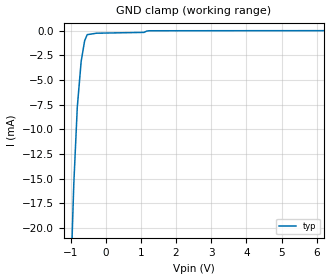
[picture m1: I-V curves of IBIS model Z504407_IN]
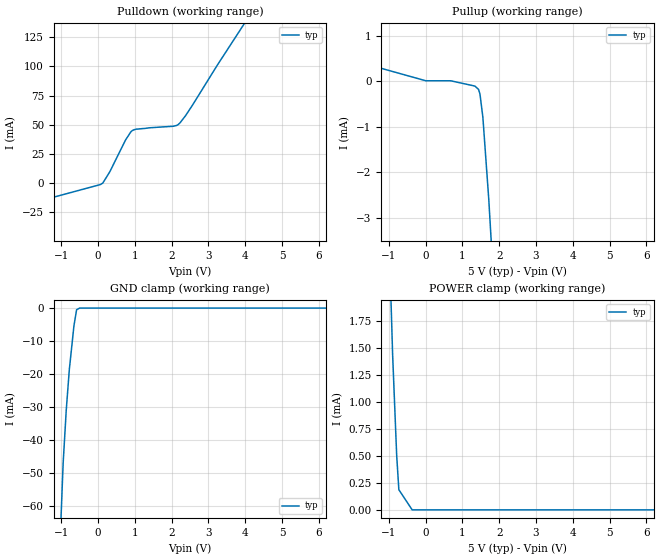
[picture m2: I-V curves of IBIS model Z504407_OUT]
| YOU ARE ONLY AUTHORIZED TO USE THIS SOFTWARE
| ACCORDING TO LICENSOR'S LICENSE RESTRICTIONS.
[IBIS Ver] 3.1
[File Name] sn54ls193j.ibs
[File Rev] 2.0
[Source] Measured and created by ICX Technology
[Date] Friday 7/14/00 9:08:14 AM
[Copyright]
| (C) COPYRIGHT 1993-2000
| MENTOR GRAPHICS CORPORATION
| ICX STANDARD LIBRARY, ICX PROJECT MODELING,
| ICX CUSTOM MODELING, ICX VENDOR MODEL
| ALL RIGHTS RESERVED.
| THE FOLLOWING ARE TRADEMARKS OR SERVICE MARKS OF
| MENTOR GRAPHICS CORPORATION:ICX (R), ICX STANDARD
| LIBRARY(R), ICX PROJECT MODELING(R), ICX CUSTOM
| MODELING(R), qualityIBIS(TM), MODELVIEWER(TM),
| AND MODELEDITOR(TM)
| ALL COPIES OF SOFTWARE, INCLUDING BUT NOT LIMITED TO
| ANY MODIFICATIONS, ENHANCEMENTS OR DERIVATIVE WORKS,
| MUST CONTAIN ALL MENTOR GRAPHICS CORPORATION'S
| NOTICES AND LEGENDS, INCLUDING THOSE EMBEDDED IN
| SOFTWARE AND THOSE AFFIXED TO SOFTWARE MEDIUM
| AND CONTAINER, AS RECEIVED FROM MENTOR GRAPHICS
| CORPORATION.
|  ZAP Model Builder 2.7
[Component] SN54LS193J
[Manufacturer] OnSemiconductor
[Package]
| variable   typ   min   max
R_pkg  .212ohms NA NA
L_pkg  4.758nH NA NA
C_pkg  1.944pF NA NA
[Pin] signal_name  model_name  R_pin  L_pin C_pin
1 B Z504407_IN .224 7.258n 2.683p
2 QB Z504407_OUT .216 5.258n 2.19p
3 QA Z504407_OUT .208 3.758n 1.697p
4 DOWN Z504407_IN .2 2.758n 1.204p
5 UP Z504407_IN .2 2.758n 1.204p
6 QC Z504407_OUT .208 3.758n 1.697p
7 QD Z504407_OUT .216 5.258n 2.19p
8 GND GND .224 7.258n 2.683p
9 D Z504407_IN .224 7.258n 2.683p
10 C Z504407_IN .216 5.258n 2.19p
11 _LOAD Z504407_IN .208 3.758n 1.697p
12 _CO Z504407_OUT .2 2.758n 1.204p
13 _BO Z504407_OUT .2 2.758n 1.204p
14 CLR Z504407_IN .208 3.758n 1.697p
15 A Z504407_IN .216 5.258n 2.19p
16 VCC POWER .224 7.258n 2.683p
| Models and submodels in the file (2): Z504407_IN (Input), Z504407_OUT (Output)
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| (C) COPYRIGHT 1993-2000
| MENTOR GRAPHICS CORPORATION
| ICX STANDARD LIBRARY, ICX PROJECT MODELING,
| ICX CUSTOM MODELING, ICX VENDOR MODEL
| ALL RIGHTS RESERVED.
| THE FOLLOWING ARE TRADEMARKS OR SERVICE MARKS OF
| MENTOR GRAPHICS CORPORATION:ICX (R), ICX STANDARD
| LIBRARY(R), ICX PROJECT MODELING(R), ICX CUSTOM
| MODELING(R), qualityIBIS(TM), MODELVIEWER(TM),
| AND MODELEDITOR(TM)
| ALL COPIES OF SOFTWARE, INCLUDING BUT NOT LIMITED TO
| ANY MODIFICATIONS, ENHANCEMENTS OR DERIVATIVE WORKS,
| MUST CONTAIN ALL MENTOR GRAPHICS CORPORATION'S
| NOTICES AND LEGENDS, INCLUDING THOSE EMBEDDED IN
| SOFTWARE AND THOSE AFFIXED TO SOFTWARE MEDIUM
| AND CONTAINER, AS RECEIVED FROM MENTOR GRAPHICS
| CORPORATION.
| Model Application Version 1.89 2/18/99.
[Model] Z504407_IN
Model_type Input
Vinl = 800.0mV
Vinh = 2.000V
C_comp 4.000pF NA NA
| variable typ   min   max
[Voltage Range] 5.000V NA NA
[GND Clamp Reference] 0.000V NA NA
[POWER Clamp Reference] 5.000V NA NA
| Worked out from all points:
|   GND clamp passes 1 mA (typ) near -0.60 V on its own axis
[GND Clamp]
-5V       -476.2mA   NA         NA
-908.4mV  -15.58mA   NA         NA
-808.9mV  -7.761mA   NA         NA
-698.2mV  -3.098mA   NA         NA
-600.1mV  -1.025mA   NA         NA
-527.3mV  -402uA     NA         NA
-263.7mV  -252.7uA   NA         NA
1.089V    -170.1uA   NA         NA
1.168V    -33.67uA   NA         NA
1.246V    -5.013uA   NA         NA
10V       13.83uA    NA         NA
[POWER Clamp]
-5V       0A         NA         NA
10V       0A         NA         NA
| (C) COPYRIGHT 1993-2000
| MENTOR GRAPHICS CORPORATION
| ICX STANDARD LIBRARY, ICX PROJECT MODELING,
| ICX CUSTOM MODELING, ICX VENDOR MODEL
| ALL RIGHTS RESERVED.
| THE FOLLOWING ARE TRADEMARKS OR SERVICE MARKS OF
| MENTOR GRAPHICS CORPORATION:ICX (R), ICX STANDARD
| LIBRARY(R), ICX PROJECT MODELING(R), ICX CUSTOM
| MODELING(R), qualityIBIS(TM), MODELVIEWER(TM),
| AND MODELEDITOR(TM)
| ALL COPIES OF SOFTWARE, INCLUDING BUT NOT LIMITED TO
| ANY MODIFICATIONS, ENHANCEMENTS OR DERIVATIVE WORKS,
| MUST CONTAIN ALL MENTOR GRAPHICS CORPORATION'S
| NOTICES AND LEGENDS, INCLUDING THOSE EMBEDDED IN
| SOFTWARE AND THOSE AFFIXED TO SOFTWARE MEDIUM
| AND CONTAINER, AS RECEIVED FROM MENTOR GRAPHICS
| CORPORATION.
| Model Application Version 1.89 2/18/99.
[Model] Z504407_OUT
Model_type Output
Vref=5.000V
Rref=2.000kohms
Cref=15.00pF
Vmeas=1.300V
C_comp 8.000pF NA NA
| variable typ   min   max
[Voltage Range] 5.000V NA NA
[POWER Clamp Reference] 5.000V NA NA
[Pullup Reference] 5.000V NA NA
[Pulldown Reference] 0.000V NA NA
[GND Clamp Reference] 0.000V NA NA
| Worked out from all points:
|   slope of the pulldown table from 0 to 0.75 V, typ, clamps not added: 19.3 ohm
|   slope of the pullup table from 0 to 0.75 V, typ, clamps not added: 55.9 kohm
|   GND clamp passes 1 mA (typ) near -0.59 V on its own axis
|   POWER clamp passes 1 mA (typ) near -0.84 V on its own axis
[GND Clamp]
-5V       -1.595A    NA         NA
-1.113V   -94.9mA    NA         NA
-946.9mV  -47.16mA   NA         NA
-862.8mV  -31.04mA   NA         NA
-778.5mV  -18.62mA   NA         NA
-654mV    -5.426mA   NA         NA
-581.1mV  -478.9uA   NA         NA
-498.1mV  0A         NA         NA
10V       0A         NA         NA
[Pulldown]
-5V       -44.29mA   NA         NA
68.55mV   -1.143mA   NA         NA
131.8mV   155.2uA    NA         NA
320.3mV   9.758mA    NA         NA
747.1mV   36.93mA    NA         NA
895.5mV   44.13mA    NA         NA
1.035V    46.25mA    NA         NA
2.051V    48.78mA    NA         NA
2.171V    50.01mA    NA         NA
2.382V    58mA       NA         NA
3.247V    101.4mA    NA         NA
10V       428.7mA    NA         NA
[Pullup]
-5V       1.148mA    NA         NA
7.5mV     16.01uA    NA         NA
684mV     16.01uA    NA         NA
1.343V    -101uA     NA         NA
1.44V     -173.8uA   NA         NA
1.479V    -273.8uA   NA         NA
1.558V    -783uA     NA         NA
1.719V    -2.594mA   NA         NA
10V       -117.2mA   NA         NA
[POWER Clamp]
-5V       47.89mA    NA         NA
-893mV    1.438mA    NA         NA
-783mV    505uA      NA         NA
-724mV    186.7uA    NA         NA
-362mV    0A         NA         NA
10V       0A         NA         NA
[Ramp]
| variable typ min max
dV/dt_r 1.750/7.707n NA NA
dV/dt_f 1.750/2.586n NA NA
R_load = 500.0Ohms
